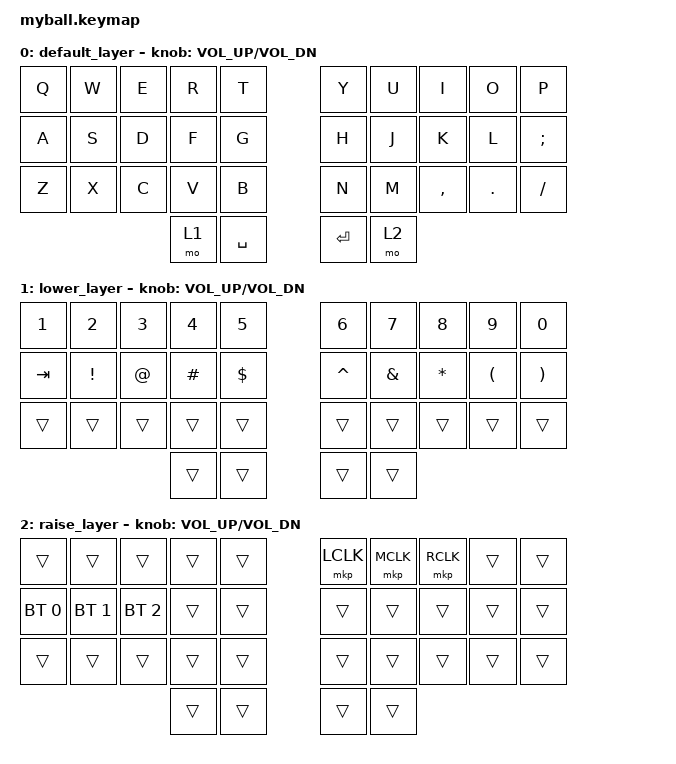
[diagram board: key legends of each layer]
/*
 * myball.keymap
 *
 * 配列イメージ (左手 | 右手):
 *
 *  Q  W  E  R  T   |  Y  U  I  O  P
 *  A  S  D  F  G   |  H  J  K  L  ;
 *  Z  X  C  V  B   |  N  M  ,  .  /
 *        LOW SPC   |  RET RAI
 *
 * 左手: ロータリーエンコーダ → 音量調整
 * 右手: トラックボール → マウスカーソル(常時動作)
 *       RAISEレイヤーでクリック割り当て
 */

#include <behaviors.dtsi>
#include <dt-bindings/zmk/keys.h>
#include <dt-bindings/zmk/bt.h>
#include <dt-bindings/zmk/outputs.h>
#include <dt-bindings/zmk/pointing.h>

/ {
    keymap {
        compatible = "zmk,keymap";

        default_layer {
            bindings = <
&kp Q  &kp W  &kp E  &kp R  &kp T      &kp Y     &kp U    &kp I      &kp O    &kp P
&kp A  &kp S  &kp D  &kp F  &kp G      &kp H     &kp J    &kp K      &kp L    &kp SEMI
&kp Z  &kp X  &kp C  &kp V  &kp B      &kp N     &kp M    &kp COMMA  &kp DOT  &kp FSLH
              &mo 1  &kp SPACE         &kp RET   &mo 2
            >;

            sensor-bindings = <&inc_dec_kp C_VOL_UP C_VOL_DN>;
        };

        // LOWER: 数字・記号
        lower_layer {
            bindings = <
&kp N1   &kp N2    &kp N3   &kp N4    &kp N5       &kp N6     &kp N7    &kp N8    &kp N9     &kp N0
&kp TAB  &kp EXCL  &kp AT   &kp HASH  &kp DLLR     &kp CARET  &kp AMPS  &kp STAR  &kp LPAR   &kp RPAR
&trans   &trans    &trans   &trans    &trans       &trans     &trans    &trans    &trans     &trans
                    &trans   &trans                &trans     &trans
            >;

            sensor-bindings = <&inc_dec_kp C_VOL_UP C_VOL_DN>;
        };

        // RAISE: トラックボールのクリック操作・BT切替
        raise_layer {
            bindings = <
&trans      &trans      &trans      &trans   &trans       &mkp LCLK  &mkp MCLK  &mkp RCLK  &trans   &trans
&bt BT_SEL 0 &bt BT_SEL 1 &bt BT_SEL 2 &trans &trans       &trans     &trans     &trans     &trans   &trans
&trans      &trans      &trans      &trans   &trans       &trans     &trans     &trans     &trans   &trans
                          &trans      &trans               &trans     &trans
            >;

            sensor-bindings = <&inc_dec_kp C_VOL_UP C_VOL_DN>;
        };
    };
};
